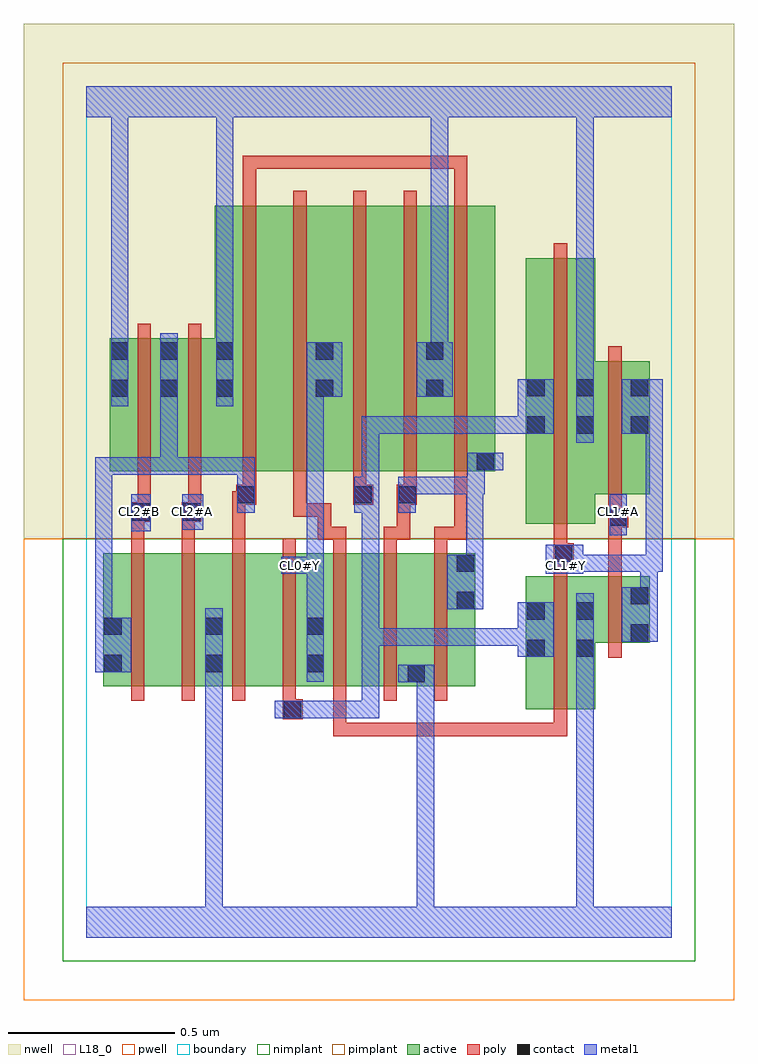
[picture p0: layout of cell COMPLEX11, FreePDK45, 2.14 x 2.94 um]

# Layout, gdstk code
import gdstk
lib = gdstk.Library(unit=1e-6, precision=1e-09)
def R(c, l, rs):  # rectangles x0, y0, x1, y1
    for r in rs: c.add(gdstk.rectangle(r[:2], r[2:], *l))
def A(c, l, x, y, w, h, nx, ny, dx, dy):  # array of equal rectangles
    R(c, l, [(x+i*dx, y+j*dy, x+i*dx+w, y+j*dy+h) for i in range(nx) for j in range(ny)])
active = (1, 0)
pwell = (2, 0)
nwell = (3, 0)
nimplant = (4, 0)
pimplant = (5, 0)
poly = (9, 0)
contact = (10, 0)
metal1 = (11, 0)
L18_0 = (18, 0)
boundary = (235, 0)

complex11 = lib.new_cell('COMPLEX11')
A(complex11, active, 0.05, 0.756, 0.06, 0.4, 4, 1, 0.304, 0)
A(complex11, active, 0.05, 0.756, 0.18, 0.4, 3, 1, 0.304, 0)
A(complex11, active, 0.23, 0.756, 0.184, 0.4, 3, 1, 0.304, 0)
R(complex11, active, [(1.322,0.686,1.53,1.086), (1.47,0.686,1.53,1.012), (0.962,0.756,1.17,1.156), (1.11,0.756,1.17,1.156), (1.322,0.756,1.382,1.086), (1.47,0.886,1.694,1.086), (1.634,0.886,1.694,1.086), (1.322,1.244,1.53,2.044), (1.322,1.244,1.382,2.044), (1.47,1.334,1.694,1.734), (1.47,1.334,1.53,2.044), (1.634,1.334,1.694,1.734), (0.07,1.402,0.278,1.802), (0.07,1.402,0.13,1.802), (0.218,1.402,0.278,1.802), (0.218,1.402,0.446,1.802), (0.386,1.402,0.566,2.202), (0.386,1.402,0.446,1.8), (0.566,1.402,0.746,2.202), (0.686,1.402,0.898,2.202), (0.898,1.402,1.078,2.202), (1.018,1.402,1.078,2.044), (1.018,1.402,1.23,2.202), (1.17,1.402,1.23,2.044), (0.686,1.586,0.746,2.044)])
R(complex11, pwell, [(-0.188,-0.188,1.948,1.2)])
R(complex11, nwell, [(-0.188,1.2,1.948,2.748)])
R(complex11, nimplant, [(-0.072,-0.072,1.832,1.2)])
R(complex11, pimplant, [(-0.072,1.2,1.832,2.632)])
A(complex11, poly, 0.134, 0.712, 0.04, 0.488, 7, 1, 0.152, 0)
A(complex11, poly, 0.742, 1.16, 0.04, 0.076, 3, 1, 0.152, 0)
A(complex11, poly, 0.802, 1.358, 0.04, 0.888, 3, 1, 0.152, 0)
A(complex11, poly, 0.636, 2.312, 0.04, 0.04, 3, 1, 0.106, 0)
R(complex11, poly, [(0.742,0.606,0.782,0.646), (0.742,0.606,0.782,0.752), (0.742,0.606,0.98,0.646), (0.94,0.606,0.98,0.646), (0.94,0.606,0.98,0.646), (0.94,0.606,0.98,0.646), (0.94,0.606,1.086,0.646), (1.046,0.606,1.086,0.646), (1.046,0.606,1.252,0.646), (1.212,0.606,1.252,0.646), (1.212,0.606,1.252,0.646), (1.212,0.606,1.252,0.646), (1.212,0.606,1.446,0.646), (1.406,0.606,1.446,0.682), (1.406,0.606,1.446,0.646), (1.406,0.606,1.446,0.646), (1.406,0.606,1.446,0.646), (1.406,0.642,1.446,1.13), (0.59,0.656,0.65,0.716), (0.59,0.676,0.63,0.752), (1.57,0.842,1.61,1.13), (1.406,1.09,1.446,1.166), (1.57,1.09,1.61,1.274), (1.406,1.126,1.466,1.186), (1.406,1.146,1.446,1.186), (1.406,1.146,1.446,1.186), (1.406,1.146,1.446,1.24), (0.134,1.16,0.174,1.29), (0.286,1.16,0.326,1.29), (0.438,1.16,0.478,1.342), (0.696,1.196,0.782,1.236), (0.696,1.196,0.736,1.306), (0.742,1.196,0.782,1.236), (0.894,1.196,0.974,1.236), (0.934,1.196,0.974,1.342), (1.046,1.196,1.146,1.236), (1.106,1.196,1.146,1.236), (1.106,1.196,1.146,1.236), (1.106,1.196,1.146,1.398), (1.406,1.2,1.446,2.088), (1.57,1.234,1.61,1.274), (1.57,1.234,1.61,1.274), (1.57,1.234,1.63,1.294), (0.134,1.25,0.194,1.31), (0.286,1.25,0.346,1.31), (1.57,1.254,1.61,1.33), (0.622,1.266,0.662,1.306), (0.622,1.266,0.662,1.306), (0.622,1.266,0.662,1.306), (0.622,1.266,0.736,1.306), (0.622,1.266,0.662,1.398), (0.154,1.27,0.194,1.31), (0.154,1.27,0.194,1.31), (0.154,1.27,0.194,1.398), (0.306,1.27,0.346,1.31), (0.306,1.27,0.346,1.31), (0.306,1.27,0.346,1.398), (1.57,1.29,1.61,1.778), (0.438,1.302,0.49,1.342), (0.45,1.302,0.49,1.342), (0.45,1.302,0.51,1.362), (0.802,1.302,0.862,1.362), (0.934,1.302,0.994,1.362), (0.47,1.322,0.51,1.398), (0.802,1.322,0.842,1.398), (0.954,1.322,0.994,1.398), (0.154,1.358,0.194,1.846), (0.306,1.358,0.346,1.846), (0.47,1.358,0.51,2.246), (0.622,1.358,0.662,2.246), (0.47,2.206,0.51,2.352), (1.106,2.206,1.146,2.352), (0.47,2.312,0.51,2.352), (0.47,2.312,0.51,2.352), (0.47,2.312,0.51,2.352), (0.47,2.312,0.676,2.352), (0.636,2.312,0.676,2.352), (0.636,2.312,0.676,2.352), (0.636,2.312,0.782,2.352), (0.742,2.312,0.888,2.352), (0.848,2.312,0.888,2.352), (0.848,2.312,0.888,2.352), (0.848,2.312,1.146,2.352), (1.106,2.312,1.146,2.352), (1.106,2.312,1.146,2.352), (1.106,2.312,1.146,2.352)])
A(complex11, contact, 0.054, 0.798, 0.052, 0.052, 3, 2, 0.304, 0.112)
R(complex11, contact, [(0.594,0.66,0.646,0.712), (0.966,0.768,1.018,0.82), (1.326,0.844,1.378,0.896), (1.474,0.844,1.526,0.896), (1.638,0.89,1.69,0.942), (1.326,0.956,1.378,1.008), (1.474,0.956,1.526,1.008), (1.114,0.988,1.166,1.04), (1.638,1.002,1.69,1.054), (1.114,1.1,1.166,1.152), (1.41,1.13,1.462,1.182), (1.574,1.238,1.626,1.29), (0.138,1.254,0.19,1.306), (0.29,1.254,0.342,1.306), (0.454,1.306,0.506,1.358), (0.806,1.306,0.858,1.358), (0.938,1.306,0.99,1.358), (1.174,1.406,1.226,1.458), (1.326,1.516,1.378,1.568), (1.474,1.516,1.526,1.568), (1.638,1.516,1.69,1.568), (0.074,1.626,0.126,1.678), (0.222,1.626,0.274,1.678), (0.39,1.626,0.442,1.678), (0.69,1.626,0.742,1.678), (1.022,1.626,1.074,1.678), (1.326,1.628,1.378,1.68), (1.474,1.628,1.526,1.68), (1.638,1.628,1.69,1.68), (0.074,1.738,0.126,1.79), (0.222,1.738,0.274,1.79), (0.39,1.738,0.442,1.79), (0.69,1.738,0.742,1.79), (1.022,1.738,1.074,1.79)])
R(complex11, metal1, [(0,0,1.76,0.092), (0.358,0.04,0.41,0.092), (0.358,0.04,0.41,0.092), (0.358,0.04,0.41,0.092), (0.358,0.04,0.41,0.092), (0.358,0.04,0.41,0.092), (0.358,0.04,0.41,0.092), (0.358,0.04,0.41,0.092), (0.358,0.04,0.41,0.092), (0.358,0.04,0.41,0.092), (0.358,0.04,0.41,0.092), (0.358,0.04,0.41,0.822), (0.994,0.04,1.046,0.092), (0.994,0.04,1.046,0.092), (0.994,0.04,1.046,0.092), (0.994,0.04,1.046,0.092), (0.994,0.04,1.046,0.092), (0.994,0.04,1.046,0.092), (0.994,0.04,1.046,0.092), (0.994,0.04,1.046,0.092), (0.994,0.04,1.046,0.82), (1.474,0.04,1.526,0.868), (0.566,0.66,0.674,0.712), (0.622,0.66,0.674,0.712), (0.622,0.66,0.674,0.712), (0.622,0.66,0.674,0.712), (0.622,0.66,0.674,0.712), (0.622,0.66,0.674,0.712), (0.622,0.66,0.674,0.712), (0.622,0.66,0.674,0.712), (0.622,0.66,0.674,0.712), (0.622,0.66,0.88,0.712), (0.828,0.66,0.88,0.712), (0.828,0.66,0.88,0.712), (0.828,0.66,0.88,0.712), (0.828,0.66,0.88,0.93), (0.938,0.768,1.046,0.82), (0.994,0.768,1.046,0.82), (0.994,0.768,1.046,0.82), (0.994,0.768,1.046,0.82), (0.994,0.768,1.046,0.82), (0.358,0.77,0.41,0.822), (0.358,0.77,0.41,0.822), (0.358,0.77,0.41,0.99), (0.662,0.77,0.714,0.99), (0.026,0.798,0.134,0.962), (1.474,0.816,1.526,0.868), (1.474,0.816,1.526,0.868), (1.474,0.816,1.526,0.868), (1.474,0.816,1.526,0.868), (1.474,0.816,1.526,0.868), (1.474,0.816,1.526,0.868), (1.474,0.816,1.526,0.868), (1.474,0.816,1.526,0.868), (1.474,0.816,1.526,0.868), (1.474,0.816,1.526,0.868), (1.474,0.816,1.526,0.868), (1.474,0.816,1.526,0.868), (1.474,0.816,1.526,1.036), (1.298,0.844,1.406,1.008), (0.828,0.878,0.88,0.93), (0.828,0.878,0.88,0.93), (0.828,0.878,0.88,0.93), (0.828,0.878,1.028,0.93), (0.828,0.878,0.88,1.386), (0.976,0.878,1.028,0.93), (0.976,0.878,1.028,0.93), (0.976,0.878,1.028,0.93), (0.976,0.878,1.028,0.93), (0.976,0.878,1.028,0.93), (0.976,0.878,1.24,0.93), (1.188,0.878,1.24,0.93), (1.188,0.878,1.24,0.93), (1.188,0.878,1.24,0.93), (1.188,0.878,1.35,0.93), (1.61,0.89,1.718,1.054), (0.026,0.91,0.078,0.962), (0.026,0.91,0.078,0.962), (0.026,0.91,0.078,1.444), (0.662,0.938,0.714,1.146), (1.086,0.988,1.194,1.152), (1.666,1.002,1.718,1.152), (0.586,1.094,0.714,1.146), (0.662,1.094,0.714,1.678), (1.382,1.094,1.494,1.182), (1.142,1.1,1.194,1.152), (1.142,1.1,1.194,1.152), (1.142,1.1,1.194,1.386), (1.442,1.1,1.494,1.152), (1.442,1.1,1.494,1.152), (1.442,1.1,1.718,1.152), (1.666,1.1,1.718,1.152), (1.666,1.1,1.718,1.152), (1.666,1.1,1.734,1.152), (1.682,1.1,1.734,1.568), (1.574,1.21,1.626,1.334), (0.134,1.222,0.194,1.334), (0.288,1.226,0.352,1.334), (0.454,1.278,0.506,1.386), (0.806,1.278,0.858,1.386), (0.938,1.278,0.99,1.386), (0.454,1.334,0.506,1.386), (0.454,1.334,0.506,1.444), (0.806,1.334,0.88,1.386), (0.828,1.334,0.88,1.386), (0.828,1.334,0.88,1.568), (0.938,1.334,0.99,1.386), (0.938,1.334,0.99,1.386), (0.938,1.334,1.138,1.386), (1.086,1.334,1.138,1.386), (1.086,1.334,1.194,1.386), (1.142,1.334,1.198,1.386), (1.146,1.334,1.198,1.458), (0.026,1.392,0.078,1.444), (0.026,1.392,0.078,1.444), (0.026,1.392,0.078,1.444), (0.026,1.392,0.274,1.444), (0.222,1.392,0.274,1.444), (0.222,1.392,0.274,1.444), (0.222,1.392,0.274,1.444), (0.222,1.392,0.506,1.444), (0.222,1.392,0.274,1.65), (1.146,1.406,1.254,1.458), (1.474,1.488,1.526,1.708), (0.828,1.516,0.88,1.568), (0.828,1.516,1.028,1.568), (0.976,1.516,1.028,1.568), (0.976,1.516,1.028,1.568), (0.976,1.516,1.028,1.568), (0.976,1.516,1.028,1.568), (0.976,1.516,1.028,1.568), (0.976,1.516,1.24,1.568), (1.188,1.516,1.24,1.568), (1.188,1.516,1.24,1.568), (1.188,1.516,1.24,1.568), (1.188,1.516,1.35,1.568), (1.298,1.516,1.406,1.68), (1.61,1.516,1.734,1.68), (1.682,1.516,1.734,1.568), (1.682,1.516,1.734,1.568), (0.074,1.598,0.126,1.818), (0.222,1.598,0.274,1.818), (0.39,1.598,0.442,1.818), (0.662,1.626,0.714,1.678), (0.662,1.626,0.714,1.678), (0.662,1.626,0.77,1.79), (0.994,1.626,1.102,1.79), (1.474,1.656,1.526,1.708), (1.474,1.656,1.526,1.708), (1.474,1.656,1.526,2.52), (1.036,1.738,1.088,1.79), (1.036,1.738,1.088,1.79), (1.036,1.738,1.088,1.79), (1.036,1.738,1.088,1.79), (1.036,1.738,1.088,1.79), (1.036,1.738,1.088,1.79), (1.036,1.738,1.088,2.52), (0.074,1.766,0.126,1.818), (0.074,1.766,0.126,1.818), (0.074,1.766,0.126,1.818), (0.074,1.766,0.126,1.818), (0.074,1.766,0.126,1.818), (0.074,1.766,0.126,1.818), (0.074,1.766,0.126,1.818), (0.074,1.766,0.126,1.818), (0.074,1.766,0.126,2.52), (0.39,1.766,0.442,1.818), (0.39,1.766,0.442,1.818), (0.39,1.766,0.442,1.818), (0.39,1.766,0.442,1.818), (0.39,1.766,0.442,1.818), (0.39,1.766,0.442,1.818), (0.39,1.766,0.442,1.818), (0.39,1.766,0.442,1.818), (0.39,1.766,0.442,2.52), (0,2.468,1.76,2.56), (0.074,2.468,0.126,2.52), (0.074,2.468,0.126,2.52), (0.074,2.468,0.126,2.52), (0.074,2.468,0.126,2.52), (0.074,2.468,0.126,2.52), (0.074,2.468,0.126,2.52), (0.074,2.468,0.126,2.52), (0.074,2.468,0.126,2.52), (1.036,2.468,1.088,2.52), (1.036,2.468,1.088,2.52), (1.474,2.468,1.526,2.52), (1.474,2.468,1.526,2.52), (1.474,2.468,1.526,2.52), (1.474,2.468,1.526,2.52), (1.474,2.468,1.526,2.52), (1.474,2.468,1.526,2.52)])
R(complex11, L18_0, [(0,0,1.76,0.092), (0.358,0.04,0.41,0.092), (0.358,0.04,0.41,0.092), (0.358,0.04,0.41,0.092), (0.358,0.04,0.41,0.092), (0.358,0.04,0.41,0.092), (0.358,0.04,0.41,0.092), (0.358,0.04,0.41,0.092), (0.358,0.04,0.41,0.092), (0.358,0.04,0.41,0.092), (0.358,0.04,0.41,0.092), (0.358,0.04,0.41,0.822), (0.994,0.04,1.046,0.092), (0.994,0.04,1.046,0.092), (0.994,0.04,1.046,0.092), (0.994,0.04,1.046,0.092), (0.994,0.04,1.046,0.092), (0.994,0.04,1.046,0.092), (0.994,0.04,1.046,0.092), (0.994,0.04,1.046,0.092), (0.994,0.04,1.046,0.82), (1.474,0.04,1.526,0.868), (0.938,0.768,1.046,0.82), (0.994,0.768,1.046,0.82), (0.994,0.768,1.046,0.82), (0.994,0.768,1.046,0.82), (0.994,0.768,1.046,0.82), (0.358,0.77,0.41,0.99), (0.358,0.77,0.41,0.822), (0.358,0.77,0.41,0.822), (0.662,0.77,0.714,0.99), (1.474,0.816,1.526,1.036), (1.474,0.816,1.526,0.868), (1.474,0.816,1.526,0.868), (1.474,0.816,1.526,0.868), (1.474,0.816,1.526,0.868), (1.474,0.816,1.526,0.868), (1.474,0.816,1.526,0.868), (1.474,0.816,1.526,0.868), (1.474,0.816,1.526,0.868), (1.474,0.816,1.526,0.868), (1.474,0.816,1.526,0.868), (1.474,0.816,1.526,0.868), (1.474,0.816,1.526,0.868), (1.61,0.89,1.718,1.054), (0.662,0.938,0.714,1.146), (1.666,1.002,1.718,1.152), (0.586,1.094,0.714,1.146), (0.614,1.094,0.666,1.146), (0.662,1.094,0.714,1.678), (1.382,1.094,1.494,1.182), (1.414,1.094,1.466,1.146), (1.442,1.1,1.494,1.152), (1.442,1.1,1.494,1.152), (1.442,1.1,1.718,1.152), (1.666,1.1,1.718,1.152), (1.666,1.1,1.718,1.152), (1.666,1.1,1.734,1.152), (1.682,1.1,1.734,1.568), (1.574,1.21,1.626,1.334), (0.134,1.222,0.194,1.334), (0.288,1.226,0.352,1.334), (0.134,1.254,0.186,1.306), (0.294,1.254,0.346,1.306), (1.574,1.254,1.626,1.306), (1.474,1.488,1.526,1.708), (1.61,1.516,1.734,1.68), (1.682,1.516,1.734,1.568), (1.682,1.516,1.734,1.568), (0.074,1.598,0.126,1.818), (0.39,1.598,0.442,1.818), (0.662,1.626,0.714,1.678), (0.662,1.626,0.714,1.678), (0.662,1.626,0.77,1.79), (0.994,1.626,1.102,1.79), (1.474,1.656,1.526,1.708), (1.474,1.656,1.526,1.708), (1.474,1.656,1.526,2.52), (1.036,1.738,1.088,1.79), (1.036,1.738,1.088,1.79), (1.036,1.738,1.088,1.79), (1.036,1.738,1.088,1.79), (1.036,1.738,1.088,1.79), (1.036,1.738,1.088,1.79), (1.036,1.738,1.088,2.52), (0.074,1.766,0.126,1.818), (0.074,1.766,0.126,1.818), (0.074,1.766,0.126,1.818), (0.074,1.766,0.126,1.818), (0.074,1.766,0.126,1.818), (0.074,1.766,0.126,1.818), (0.074,1.766,0.126,1.818), (0.074,1.766,0.126,1.818), (0.074,1.766,0.126,2.52), (0.39,1.766,0.442,1.818), (0.39,1.766,0.442,1.818), (0.39,1.766,0.442,1.818), (0.39,1.766,0.442,1.818), (0.39,1.766,0.442,1.818), (0.39,1.766,0.442,1.818), (0.39,1.766,0.442,1.818), (0.39,1.766,0.442,1.818), (0.39,1.766,0.442,2.52), (0,2.468,1.76,2.56), (0.074,2.468,0.126,2.52), (0.074,2.468,0.126,2.52), (0.074,2.468,0.126,2.52), (0.074,2.468,0.126,2.52), (0.074,2.468,0.126,2.52), (0.074,2.468,0.126,2.52), (0.074,2.468,0.126,2.52), (0.074,2.468,0.126,2.52), (1.036,2.468,1.088,2.52), (1.036,2.468,1.088,2.52), (1.474,2.468,1.526,2.52), (1.474,2.468,1.526,2.52), (1.474,2.468,1.526,2.52), (1.474,2.468,1.526,2.52), (1.474,2.468,1.526,2.52), (1.474,2.468,1.526,2.52)])
R(complex11, boundary, [(0,0,1.76,2.56)])
complex11.add(gdstk.Label('CL0#Y', (0.64,1.12), layer=11, texttype=0))
complex11.add(gdstk.Label('CL1#A', (1.6,1.28), layer=11, texttype=0))
complex11.add(gdstk.Label('CL1#Y', (1.44,1.12), layer=11, texttype=0))
complex11.add(gdstk.Label('CL2#A', (0.32,1.28), layer=11, texttype=0))
complex11.add(gdstk.Label('CL2#B', (0.16,1.28), layer=11, texttype=0))

lib.write_gds('COMPLEX11.gds')
